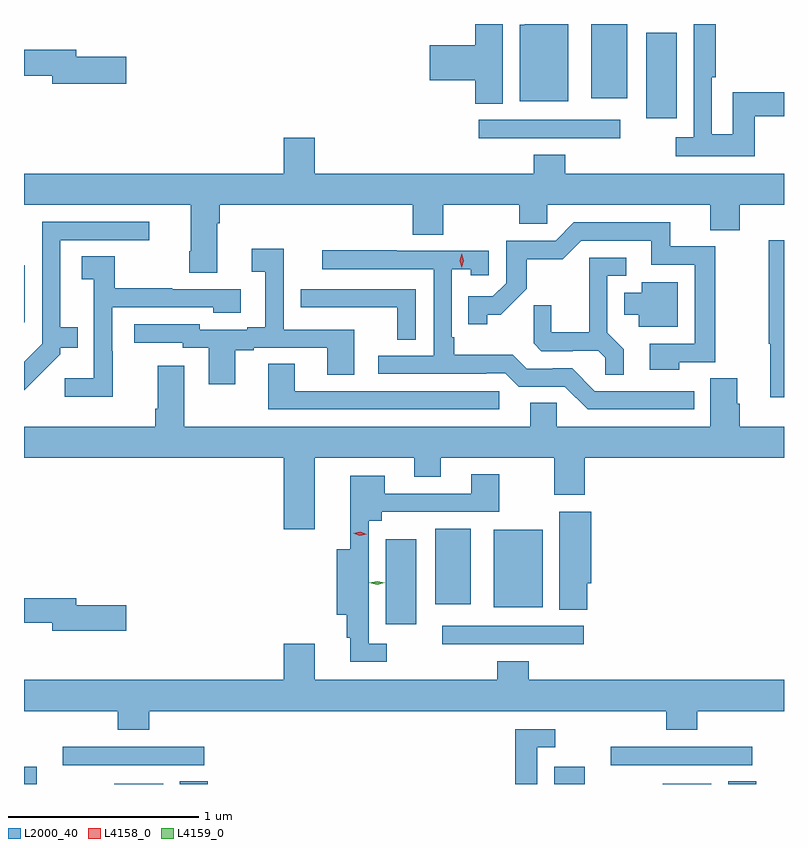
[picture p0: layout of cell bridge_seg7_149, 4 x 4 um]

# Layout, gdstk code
import gdstk
lib = gdstk.Library(unit=1e-6, precision=1e-09)
def R(c, l, rs):  # rectangles x0, y0, x1, y1
    for r in rs: c.add(gdstk.rectangle(r[:2], r[2:], *l))
def P(c, l, *ps):  # polygons
    for p in ps: c.add(gdstk.Polygon(p, *l))
L2000_40 = (2000, 40)
L4158_0 = (4158, 0)
L4159_0 = (4159, 0)

bridge_seg7_149 = lib.new_cell('bridge_seg7_149')
R(bridge_seg7_149, L2000_40, [(559.246,1072.16,559.312,1072.252), (559.721,1072.16,559.978,1072.162), (560.066,1072.16,560.213,1072.175), (562.037,1072.16,562.198,1072.252), (562.607,1072.16,562.864,1072.162), (562.952,1072.16,563.099,1072.175), (559.449,1072.26,560.194,1072.356), (562.335,1072.26,563.08,1072.356), (561.447,1072.896,562.192,1072.992), (561.149,1073.001,561.31,1073.449), (561.719,1073.09,561.976,1073.497), (561.41,1073.105,561.598,1073.503), (561.639,1075.56,562.384,1075.656), (562.52,1075.665,562.681,1076.113), (562.232,1075.769,562.42,1076.16)])
P(bridge_seg7_149, L2000_40, [(562.111,1076.16),(561.881,1076.16),(561.881,1076.157),(561.854,1076.157),(561.854,1075.754),(562.111,1075.754)],
  [(563.093,1075.674),(563.246,1075.674),(563.246,1075.802),(562.977,1075.802),(562.977,1075.58),(562.866,1075.58),(562.866,1075.879),(562.886,1075.879),(562.886,1076.16),(562.77,1076.16),(562.77,1075.564),(562.677,1075.564),(562.677,1075.464),(563.093,1075.464)],
  [(561.766,1076.16),(561.62,1076.16),(561.62,1076.048),(561.381,1076.048),(561.381,1075.865),(561.62,1075.865),(561.62,1075.741),(561.766,1075.741)],
  [(559.783,1075.988),(559.522,1075.988),(559.522,1076.024),(559.246,1076.024),(559.246,1075.888),(559.394,1075.888),(559.394,1075.846),(559.783,1075.846)],
  [(560.263,1075.112),(560.276,1075.112),(560.276,1075.208),(561.293,1075.208),(561.293,1075.051),(561.453,1075.051),(561.453,1075.208),(561.853,1075.208),(561.853,1075.11),(561.999,1075.11),(561.999,1075.208),(562.859,1075.208),(562.859,1075.075),(563.012,1075.075),(563.012,1075.208),(563.246,1075.208),(563.246,1075.372),(562.094,1075.372),(562.094,1075.471),(561.929,1075.471),(561.929,1075.372),(560.776,1075.372),(560.776,1075.561),(560.612,1075.561),(560.612,1075.372),(559.246,1075.372),(559.246,1075.208),(560.123,1075.208),(560.123,1074.964),(560.116,1074.964),(560.116,1074.852),(560.263,1074.852)],
  [(559.437,1074.423),(559.437,1074.455),(559.529,1074.455),(559.529,1074.565),(559.438,1074.565),(559.438,1075.023),(559.906,1075.023),(559.906,1075.119),(559.341,1075.119),(559.341,1074.477),(559.246,1074.382),(559.246,1074.232)],
  [(562.695,1074.381),(562.885,1074.381),(562.885,1074.99),(562.646,1074.99),(562.646,1075.116),(562.14,1075.116),(562.044,1075.02),(561.783,1075.02),(561.783,1074.795),(561.714,1074.726),(561.583,1074.726),(561.583,1074.579),(561.684,1074.579),(561.684,1074.629),(561.754,1074.629),(561.892,1074.766),(561.892,1074.922),(562.081,1074.922),(562.179,1075.02),(562.547,1075.02),(562.547,1074.894),(562.776,1074.894),(562.776,1074.477),(562.539,1074.477),(562.539,1074.341),(562.695,1074.341)],
  [(563.246,1075.021),(563.167,1075.021),(563.167,1074.477),(563.174,1074.477),(563.174,1074.195),(563.246,1074.195)],
  [(560.359,1074.444),(560.455,1074.444),(560.455,1074.456),(560.843,1074.456),(560.843,1074.313),(560.983,1074.313),(560.983,1074.552),(560.613,1074.552),(560.613,1074.976),(560.445,1074.976),(560.445,1074.856),(560.516,1074.856),(560.516,1074.565),(560.42,1074.565),(560.42,1074.552),(560.172,1074.552),(560.172,1074.579),(559.827,1074.579),(559.827,1074.483),(560.082,1074.483),(560.082,1074.456),(560.219,1074.456),(560.219,1074.264),(560.359,1074.264)],
  [(562.774,1074.228),(562.251,1074.228),(562.131,1074.348),(562.03,1074.348),(562.03,1074.345),(561.891,1074.345),(561.818,1074.418),(561.511,1074.418),(561.511,1074.511),(561.498,1074.511),(561.498,1074.869),(561.597,1074.869),(561.597,1074.837),(561.693,1074.837),(561.693,1074.966),(561.209,1074.966),(561.209,1074.969),(560.817,1074.969),(560.817,1074.87),(561.402,1074.87),(561.402,1074.414),(561.111,1074.414),(561.111,1074.318),(561.68,1074.318),(561.68,1074.321),(561.78,1074.321),(561.849,1074.252),(562.092,1074.252),(562.212,1074.132),(562.774,1074.132)],
  [(559.713,1074.437),(559.71,1074.437),(559.71,1074.669),(560.241,1074.669),(560.241,1074.641),(560.386,1074.641),(560.386,1074.765),(560.027,1074.765),(560.027,1074.768),(559.723,1074.768),(559.723,1074.938),(559.551,1074.938),(559.551,1074.817),(559.614,1074.817),(559.614,1074.295),(559.461,1074.295),(559.461,1074.197),(559.713,1074.197)],
  [(562.403,1074.449),(562.317,1074.535),(562.317,1074.834),(562.417,1074.834),(562.417,1074.93),(562.22,1074.93),(562.22,1074.538),(562.022,1074.538),(562.022,1074.681),(561.928,1074.681),(561.928,1074.479),(561.969,1074.438),(562.134,1074.438),(562.134,1074.441),(562.268,1074.441),(562.305,1074.404),(562.305,1074.313),(562.403,1074.313)],
  [(559.251,1074.593),(559.251,1074.891),(559.246,1074.891),(559.246,1074.588)],
  [(562.687,1074.802),(562.496,1074.802),(562.496,1074.745),(562.406,1074.745),(562.406,1074.629),(562.481,1074.629),(562.481,1074.566),(562.687,1074.566)],
  [(561.309,1074.765),(560.703,1074.765),(560.703,1074.67),(560.815,1074.67),(560.815,1074.669),(561.211,1074.669),(561.211,1074.499),(561.309,1074.499)],
  [(561.748,1074.228),(560.671,1074.228),(560.671,1074.371),(560.531,1074.371),(560.531,1074.132),(561.748,1074.132)],
  [(560.089,1074.361),(559.949,1074.361),(559.949,1074.136),(559.937,1074.136),(559.937,1074.04),(559.246,1074.04),(559.246,1073.876),(560.612,1073.876),(560.612,1073.502),(560.776,1073.502),(560.776,1073.876),(561.299,1073.876),(561.299,1073.777),(561.439,1073.777),(561.439,1073.876),(562.036,1073.876),(562.036,1073.682),(562.196,1073.682),(562.196,1073.876),(563.246,1073.876),(563.246,1074.04),(563.012,1074.04),(563.012,1074.162),(562.999,1074.162),(562.999,1074.296),(562.859,1074.296),(562.859,1074.04),(562.05,1074.04),(562.05,1074.167),(561.911,1074.167),(561.911,1074.04),(560.089,1074.04)],
  [(561.154,1072.899),(561.06,1072.899),(561.06,1073.546),(561.13,1073.546),(561.13,1073.592),(561.747,1073.592),(561.747,1073.791),(561.599,1073.791),(561.599,1073.688),(561.145,1073.688),(561.145,1073.782),(560.963,1073.782),(560.963,1073.395),(560.891,1073.395),(560.891,1073.051),(560.944,1073.051),(560.944,1072.931),(560.963,1072.931),(560.963,1072.803),(561.154,1072.803)],
  [(562.211,1073.217),(562.232,1073.217),(562.232,1073.593),(562.064,1073.593),(562.064,1073.077),(562.211,1073.077)],
  [(559.783,1073.102),(559.522,1073.102),(559.522,1073.138),(559.246,1073.138),(559.246,1073.01),(559.394,1073.01),(559.394,1072.967),(559.783,1072.967)],
  [(559.904,1072.544),(562.625,1072.544),(562.625,1072.445),(562.79,1072.445),(562.79,1072.544),(563.246,1072.544),(563.246,1072.708),(561.902,1072.708),(561.902,1072.807),(561.737,1072.807),(561.737,1072.708),(560.776,1072.708),(560.776,1072.897),(560.612,1072.897),(560.612,1072.708),(559.246,1072.708),(559.246,1072.544),(559.739,1072.544),(559.739,1072.445),(559.904,1072.445)],
  [(561.948,1072.353),(562.042,1072.353),(562.042,1072.449),(561.832,1072.449),(561.832,1072.16),(561.948,1072.16)])
P(bridge_seg7_149, L4158_0, [(561.549,1074.878),(561.549,1074.879),(561.54,1074.915),(561.55,1074.951),(561.55,1074.951),(561.55,1074.951),(561.56,1074.914),(561.549,1074.879)],
  [(561.013,1073.467),(560.979,1073.479),(560.979,1073.479),(560.979,1073.48),(561.015,1073.487),(561.049,1073.474),(561.049,1073.474),(561.049,1073.474)])
P(bridge_seg7_149, L4159_0, [(561.105,1073.208),(561.064,1073.218),(561.064,1073.218),(561.064,1073.218),(561.104,1073.228),(561.145,1073.218),(561.145,1073.218),(561.145,1073.218)])

lib.write_gds('bridge_seg7_149.gds')
